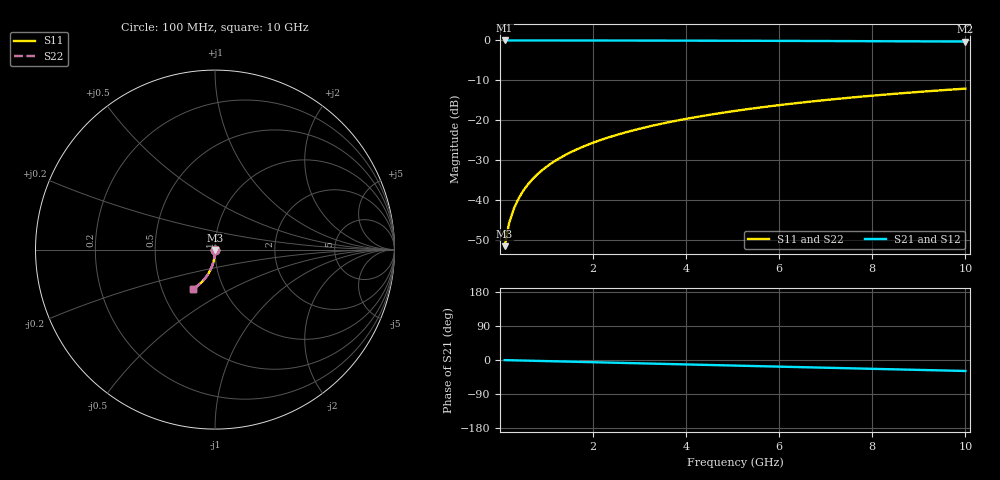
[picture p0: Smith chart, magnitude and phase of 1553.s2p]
# Hz S RI R 50.00
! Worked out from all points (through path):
!   100 points, 100 MHz to 10 GHz, reference 50 ohm
!   highest |S21| = 0.00 dB at 100 MHz (marker M1); lowest = -0.3 dB at 10 GHz (marker M2)
!   group delay of S21, straight-line fit = 8.06 ps
!   lowest |S11| = -51.5 dB at 100 MHz (marker M3), VSWR 1.01, Z = 50 - j0.262 ohm
!   |S11| at or under -10 dB: start of sweep to end of sweep
!   |S22| runs from -51.5 to -12.1 dB; largest |S21 - S12| = 0
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1e8  0.000413 -0.00262  0.9995 -0.00509  0.9995 -0.00509  0.000413 -0.00262
2e8  0.000373 -0.00524  0.9995 -0.0102  0.9995 -0.0102  0.000373 -0.00524
3e8  0.000304 -0.00786  0.9994 -0.0153  0.9994 -0.0153  0.000304 -0.00786
4e8  0.000209 -0.0105  0.9993 -0.0203  0.9993 -0.0203  0.000209 -0.0105
5e8  8.7e-05 -0.0131  0.9991 -0.0254  0.9991 -0.0254  8.7e-05 -0.0131
6e8  -6.19e-05 -0.0157  0.9989 -0.0305  0.9989 -0.0305  -6.19e-05 -0.0157
7e8  -0.000238 -0.0183  0.9987 -0.0356  0.9987 -0.0356  -0.000238 -0.0183
8e8  -0.00044 -0.0209  0.9985 -0.0407  0.9985 -0.0407  -0.00044 -0.0209
9e8  -0.000669 -0.0236  0.9982 -0.0458  0.9982 -0.0458  -0.000669 -0.0236
1.1e9  -0.00121 -0.0288  0.9975 -0.0559  0.9975 -0.0559  -0.00121 -0.0288
1.4e9  -0.00221 -0.0366  0.9963 -0.0711  0.9963 -0.0711  -0.00221 -0.0366
1.8e9  -0.00393 -0.0469  0.9942 -0.0914  0.9942 -0.0914  -0.00393 -0.0469
2.1e9  -0.00549 -0.0547  0.9923 -0.1065  0.9923 -0.1065  -0.00549 -0.0547
2.5e9  -0.00794 -0.0649  0.9892 -0.1267  0.9892 -0.1267  -0.00794 -0.0649
2.9e9  -0.0108 -0.075  0.9857 -0.1467  0.9857 -0.1467  -0.0108 -0.075
3.4e9  -0.015 -0.0875  0.9806 -0.1716  0.9806 -0.1716  -0.015 -0.0875
4.2e9  -0.0229 -0.1069  0.9707 -0.2109  0.9707 -0.2109  -0.0229 -0.1069
5.1e9  -0.0337 -0.1279  0.9573 -0.2544  0.9573 -0.2544  -0.0337 -0.1279
5.9e9  -0.0448 -0.1456  0.9434 -0.2922  0.9434 -0.2922  -0.0448 -0.1456
6.7e9  -0.0573 -0.1623  0.9277 -0.329  0.9277 -0.329  -0.0573 -0.1623
8.4e9  -0.0878 -0.1938  0.889 -0.4035  0.889 -0.4035  -0.0878 -0.1938
1e10  -0.1205 -0.2181  0.8465 -0.4686  0.8465 -0.4686  -0.1205 -0.2181
